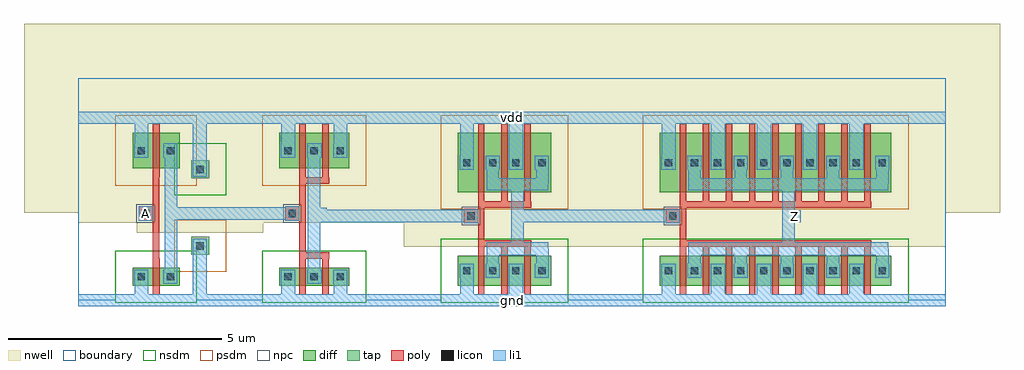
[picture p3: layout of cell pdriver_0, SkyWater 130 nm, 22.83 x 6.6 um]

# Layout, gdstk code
import gdstk
lib = gdstk.Library(unit=1e-6, precision=1e-09)
def R(c, l, rs):  # rectangles x0, y0, x1, y1
    for r in rs: c.add(gdstk.rectangle(r[:2], r[2:], *l))
def A(c, l, x, y, w, h, nx, ny, dx, dy):  # array of equal rectangles
    R(c, l, [(x+i*dx, y+j*dy, x+i*dx+w, y+j*dy+h) for i in range(nx) for j in range(ny)])
nwell = (64, 20)
diff = (65, 20)
tap = (65, 44)
poly = (66, 20)
licon = (66, 44)
li1 = (67, 20)
nsdm = (93, 44)
psdm = (94, 20)
npc = (95, 20)
boundary = (235, 4)

contact_10 = lib.new_cell('contact_10')
R(contact_10, nwell, [(-1.27,-1.27,1.69,1.69)])
R(contact_10, diff, [(0,0,0.42,0.42)])
R(contact_10, licon, [(0.12,0.12,0.29,0.29)])
R(contact_10, li1, [(0.04,0.04,0.37,0.37)])
R(contact_10, psdm, [(-0.4,-0.4,0.82,0.82)])
R(contact_10, boundary, [(-1.27,-1.27,1.69,1.69)])

pmos_m1_w0_840_sli_dli_d = lib.new_cell('pmos_m1_w0_840_sli_dli_da_p')
R(pmos_m1_w0_840_sli_dli_d, nwell, [(-1.27,-1.27,2.37,2.11)])
R(pmos_m1_w0_840_sli_dli_d, diff, [(0,0,1.1,0.84)])
R(pmos_m1_w0_840_sli_dli_d, poly, [(0.47,-0.21,0.62,1.05), (0.47,-0.21,0.63,1.05)])
R(pmos_m1_w0_840_sli_dli_d, li1, [(0.05,0.25,0.37,0.59), (0.73,0.25,1.05,0.59)])
R(pmos_m1_w0_840_sli_dli_d, psdm, [(-0.4,-0.4,1.5,1.24)])
R(pmos_m1_w0_840_sli_dli_d, boundary, [(-1.27,-1.27,2.37,2.11)])
pmos_m1_w0_840_sli_dli_d.add(gdstk.Reference(contact_10, (0,0.21)))
pmos_m1_w0_840_sli_dli_d.add(gdstk.Reference(contact_10, (0.68,0.21)))
pmos_m1_w0_840_sli_dli_d.add(gdstk.Label('G', (0.55,0.42), layer=66, texttype=20))
pmos_m1_w0_840_sli_dli_d.add(gdstk.Label('S', (0.21,0.42), layer=67, texttype=20))
pmos_m1_w0_840_sli_dli_d.add(gdstk.Label('D', (0.89,0.42), layer=67, texttype=20))

contact_9 = lib.new_cell('contact_9')
R(contact_9, diff, [(0,0,0.42,0.42)])
R(contact_9, licon, [(0.12,0.12,0.29,0.29)])
R(contact_9, li1, [(0.04,0.04,0.37,0.37)])
R(contact_9, nsdm, [(-0.4,-0.4,0.82,0.82)])
R(contact_9, boundary, [(-0.4,-0.4,0.82,0.82)])

nmos_m1_w0_420_sli_dli_d = lib.new_cell('nmos_m1_w0_420_sli_dli_da_p')
R(nmos_m1_w0_420_sli_dli_d, diff, [(0,0,1.1,0.42)])
R(nmos_m1_w0_420_sli_dli_d, poly, [(0.47,-0.21,0.62,0.63), (0.47,-0.21,0.63,0.63)])
R(nmos_m1_w0_420_sli_dli_d, li1, [(0.05,0.05,0.37,0.37), (0.73,0.05,1.05,0.37)])
R(nmos_m1_w0_420_sli_dli_d, nsdm, [(-0.4,-0.4,1.5,0.82)])
R(nmos_m1_w0_420_sli_dli_d, boundary, [(-0.4,-0.4,1.5,0.82)])
nmos_m1_w0_420_sli_dli_d.add(gdstk.Reference(contact_9, (0,0)))
nmos_m1_w0_420_sli_dli_d.add(gdstk.Reference(contact_9, (0.68,0)))
nmos_m1_w0_420_sli_dli_d.add(gdstk.Label('G', (0.55,0.21), layer=66, texttype=20))
nmos_m1_w0_420_sli_dli_d.add(gdstk.Label('S', (0.21,0.21), layer=67, texttype=20))
nmos_m1_w0_420_sli_dli_d.add(gdstk.Label('D', (0.89,0.21), layer=67, texttype=20))

contact_11 = lib.new_cell('contact_11')
R(contact_11, nwell, [(-1.27,-1.27,1.69,1.69)])
R(contact_11, tap, [(0,0,0.42,0.42)])
R(contact_11, licon, [(0.12,0.12,0.29,0.29)])
R(contact_11, li1, [(0.04,0.04,0.37,0.37)])
R(contact_11, nsdm, [(-0.4,-0.4,0.82,0.82)])
R(contact_11, boundary, [(-1.27,-1.27,1.69,1.69)])

contact_12 = lib.new_cell('contact_12')
R(contact_12, tap, [(0,0,0.42,0.42)])
R(contact_12, licon, [(0.12,0.12,0.29,0.29)])
R(contact_12, li1, [(0.04,0.04,0.37,0.37)])
R(contact_12, psdm, [(-0.4,-0.4,0.82,0.82)])
R(contact_12, boundary, [(-0.4,-0.4,0.82,0.82)])

contact_13 = lib.new_cell('contact_13')
R(contact_13, poly, [(0,0,0.33,0.33)])
R(contact_13, licon, [(0.08,0.08,0.25,0.25)])
R(contact_13, li1, [(0,0,0.33,0.33)])
R(contact_13, npc, [(-0.05,-0.05,0.38,0.38)])
R(contact_13, boundary, [(-0.05,-0.05,0.38,0.38)])

pinv_5 = lib.new_cell('pinv_5')
R(pinv_5, nwell, [(-1.27,2.04,4.7,6.46)])
R(pinv_5, poly, [(1.74,0.97,1.89,2.87), (1.58,1.86,1.74,2.19)])
R(pinv_5, li1, [(0,-0.14,3.43,0.14), (1.32,-0.14,1.64,0.39), (2.68,0,3.01,1.27), (2.02,0.39,2.31,3.67), (1.41,1.86,1.74,2.18), (2.16,1.88,2.45,2.16), (2.68,3.06,3.01,4.26), (1.32,3.33,1.64,4.4), (0,4.12,3.43,4.4)])
R(pinv_5, boundary, [(0,0,3.43,4.26), (0,0,3.43,4.26)])
pinv_5.add(gdstk.Reference(pmos_m1_w0_840_sli_dli_d, (1.27,3.08)))
pinv_5.add(gdstk.Reference(nmos_m1_w0_420_sli_dli_d, (1.27,0.34)))
pinv_5.add(gdstk.Reference(contact_11, (2.64,2.85)))
pinv_5.add(gdstk.Reference(contact_12, (2.64,1.06)))
pinv_5.add(gdstk.Reference(contact_13, (1.41,1.86)))
pinv_5.add(gdstk.Label('A', (1.575,2.02), layer=67, texttype=20))
pinv_5.add(gdstk.Label('Z', (2.305,2.02), layer=67, texttype=20))
pinv_5.add(gdstk.Label('gnd', (1.715,0), layer=67, texttype=20))
pinv_5.add(gdstk.Label('vdd', (1.715,4.26), layer=67, texttype=20))

pmos_m2_w0_840_sli_dli_d = lib.new_cell('pmos_m2_w0_840_sli_dli_da_p')
R(pmos_m2_w0_840_sli_dli_d, nwell, [(-1.27,-1.27,2.91,2.11)])
R(pmos_m2_w0_840_sli_dli_d, diff, [(0,0,1.64,0.84)])
R(pmos_m2_w0_840_sli_dli_d, poly, [(0.47,-0.36,1.17,-0.21), (0.47,-0.21,0.62,1.05), (1.01,-0.21,1.16,1.05)])
R(pmos_m2_w0_840_sli_dli_d, li1, [(0.05,0.25,0.37,0.59), (0.65,0.25,0.99,0.59), (1.27,0.25,1.59,0.59)])
R(pmos_m2_w0_840_sli_dli_d, psdm, [(-0.4,-0.4,2.04,1.24)])
R(pmos_m2_w0_840_sli_dli_d, boundary, [(-1.27,-1.27,2.91,2.11)])
pmos_m2_w0_840_sli_dli_d.add(gdstk.Reference(contact_10, (0,0.21)))
pmos_m2_w0_840_sli_dli_d.add(gdstk.Reference(contact_10, (0.61,0.21)))
pmos_m2_w0_840_sli_dli_d.add(gdstk.Reference(contact_10, (1.22,0.21)))
pmos_m2_w0_840_sli_dli_d.add(gdstk.Label('G', (0.82,-0.285), layer=66, texttype=20))
pmos_m2_w0_840_sli_dli_d.add(gdstk.Label('S', (0.21,0.42), layer=67, texttype=20))
pmos_m2_w0_840_sli_dli_d.add(gdstk.Label('S', (1.43,0.42), layer=67, texttype=20))
pmos_m2_w0_840_sli_dli_d.add(gdstk.Label('D', (0.82,0.42), layer=67, texttype=20))

nmos_m2_w0_420_sli_dli_d = lib.new_cell('nmos_m2_w0_420_sli_dli_da_p')
R(nmos_m2_w0_420_sli_dli_d, diff, [(0,0,1.64,0.42)])
R(nmos_m2_w0_420_sli_dli_d, poly, [(0.47,-0.21,0.62,0.63), (1.01,-0.21,1.16,0.63), (0.47,0.63,1.17,0.78)])
R(nmos_m2_w0_420_sli_dli_d, li1, [(0.05,0.05,0.37,0.37), (0.65,0.05,0.99,0.37), (1.27,0.05,1.59,0.37)])
R(nmos_m2_w0_420_sli_dli_d, nsdm, [(-0.4,-0.4,2.04,0.82)])
R(nmos_m2_w0_420_sli_dli_d, boundary, [(-0.4,-0.4,2.04,0.82)])
nmos_m2_w0_420_sli_dli_d.add(gdstk.Reference(contact_9, (0,0)))
nmos_m2_w0_420_sli_dli_d.add(gdstk.Reference(contact_9, (0.61,0)))
nmos_m2_w0_420_sli_dli_d.add(gdstk.Reference(contact_9, (1.22,0)))
nmos_m2_w0_420_sli_dli_d.add(gdstk.Label('G', (0.82,0.705), layer=66, texttype=20))
nmos_m2_w0_420_sli_dli_d.add(gdstk.Label('S', (1.43,0.21), layer=67, texttype=20))
nmos_m2_w0_420_sli_dli_d.add(gdstk.Label('S', (0.21,0.21), layer=67, texttype=20))
nmos_m2_w0_420_sli_dli_d.add(gdstk.Label('D', (0.82,0.21), layer=67, texttype=20))

pinv_4 = lib.new_cell('pinv_4')
R(pinv_4, nwell, [(-1.27,2.04,5.45,6.46)])
R(pinv_4, poly, [(1.74,1.12,1.89,2.72), (1.58,1.86,1.74,2.19)])
R(pinv_4, li1, [(0,-0.14,4.18,0.14), (1.32,-0.14,1.64,0.39), (2.54,-0.14,2.86,0.39), (1.94,0.39,2.23,3.67), (1.41,1.86,1.74,2.18), (2.09,1.88,2.38,2.16), (1.32,3.33,1.64,4.4), (2.54,3.33,2.86,4.4), (0,4.12,4.18,4.4)])
R(pinv_4, boundary, [(0,0,4.18,4.26), (0,0,4.18,4.26)])
pinv_4.add(gdstk.Reference(pmos_m2_w0_840_sli_dli_d, (1.27,3.08)))
pinv_4.add(gdstk.Reference(nmos_m2_w0_420_sli_dli_d, (1.27,0.34)))
pinv_4.add(gdstk.Reference(contact_13, (1.41,1.86)))
pinv_4.add(gdstk.Label('A', (1.575,2.02), layer=67, texttype=20))
pinv_4.add(gdstk.Label('Z', (2.235,2.02), layer=67, texttype=20))
pinv_4.add(gdstk.Label('gnd', (2.09,0), layer=67, texttype=20))
pinv_4.add(gdstk.Label('vdd', (2.09,4.26), layer=67, texttype=20))

pmos_m3_w1_400_sli_dli_d = lib.new_cell('pmos_m3_w1_400_sli_dli_da_p')
R(pmos_m3_w1_400_sli_dli_d, nwell, [(-1.27,-1.27,3.45,2.67)])
R(pmos_m3_w1_400_sli_dli_d, diff, [(0,0,2.18,1.4)])
A(pmos_m3_w1_400_sli_dli_d, poly, 0.47, -0.21, 0.15, 1.82, 3, 1, 0.54, 0)
R(pmos_m3_w1_400_sli_dli_d, poly, [(0.47,-0.36,1.71,-0.21)])
R(pmos_m3_w1_400_sli_dli_d, li1, [(0.67,0.05,2.11,0.33), (0.67,0.19,0.96,0.7), (1.83,0.19,2.12,0.7), (0.05,0.53,0.37,0.87), (1.19,0.53,1.53,0.87)])
R(pmos_m3_w1_400_sli_dli_d, psdm, [(-0.4,-0.4,2.58,1.8)])
R(pmos_m3_w1_400_sli_dli_d, boundary, [(-1.27,-1.27,3.45,2.67)])
pmos_m3_w1_400_sli_dli_d.add(gdstk.Reference(contact_10, (0,0.49)))
pmos_m3_w1_400_sli_dli_d.add(gdstk.Reference(contact_10, (0.61,0.49)))
pmos_m3_w1_400_sli_dli_d.add(gdstk.Reference(contact_10, (1.15,0.49)))
pmos_m3_w1_400_sli_dli_d.add(gdstk.Reference(contact_10, (1.76,0.49)))
pmos_m3_w1_400_sli_dli_d.add(gdstk.Label('G', (1.09,-0.285), layer=66, texttype=20))
pmos_m3_w1_400_sli_dli_d.add(gdstk.Label('S', (1.36,0.7), layer=67, texttype=20))
pmos_m3_w1_400_sli_dli_d.add(gdstk.Label('S', (0.21,0.7), layer=67, texttype=20))
pmos_m3_w1_400_sli_dli_d.add(gdstk.Label('D', (1.39,0.19), layer=67, texttype=20))

nmos_m3_w0_700_sli_dli_d = lib.new_cell('nmos_m3_w0_700_sli_dli_da_p')
R(nmos_m3_w0_700_sli_dli_d, diff, [(0,0,2.18,0.7)])
A(nmos_m3_w0_700_sli_dli_d, poly, 0.47, -0.21, 0.15, 1.12, 3, 1, 0.54, 0)
R(nmos_m3_w0_700_sli_dli_d, poly, [(0.47,0.91,1.71,1.06)])
R(nmos_m3_w0_700_sli_dli_d, li1, [(0.05,0.19,0.37,0.51), (1.19,0.19,1.53,0.51), (0.67,0.35,0.96,0.86), (1.83,0.35,2.12,0.86), (0.67,0.71,2.11,1.01)])
R(nmos_m3_w0_700_sli_dli_d, nsdm, [(-0.4,-0.4,2.58,1.1)])
R(nmos_m3_w0_700_sli_dli_d, boundary, [(-0.4,-0.4,2.58,1.1)])
nmos_m3_w0_700_sli_dli_d.add(gdstk.Reference(contact_9, (0,0.14)))
nmos_m3_w0_700_sli_dli_d.add(gdstk.Reference(contact_9, (0.61,0.14)))
nmos_m3_w0_700_sli_dli_d.add(gdstk.Reference(contact_9, (1.15,0.14)))
nmos_m3_w0_700_sli_dli_d.add(gdstk.Reference(contact_9, (1.76,0.14)))
nmos_m3_w0_700_sli_dli_d.add(gdstk.Label('G', (1.09,0.985), layer=66, texttype=20))
nmos_m3_w0_700_sli_dli_d.add(gdstk.Label('S', (0.21,0.35), layer=67, texttype=20))
nmos_m3_w0_700_sli_dli_d.add(gdstk.Label('S', (1.36,0.35), layer=67, texttype=20))
nmos_m3_w0_700_sli_dli_d.add(gdstk.Label('D', (1.39,0.86), layer=67, texttype=20))

pinv_6 = lib.new_cell('pinv_6')
R(pinv_6, nwell, [(-1.27,2.04,5.99,6.46)])
R(pinv_6, poly, [(1.74,1.4,1.89,2.16), (1.58,1.8,1.74,2.13)])
R(pinv_6, li1, [(0,-0.14,4.72,0.14), (1.32,-0.14,1.64,0.53), (2.46,-0.14,2.8,0.53), (2.52,1.05,2.81,2.85), (1.41,1.8,1.74,2.12), (2.66,1.82,2.95,2.1), (1.32,3.05,1.64,4.4), (2.46,3.05,2.8,4.4), (0,4.12,4.72,4.4)])
R(pinv_6, boundary, [(0,0,4.72,4.26), (0,0,4.72,4.26)])
pinv_6.add(gdstk.Reference(pmos_m3_w1_400_sli_dli_d, (1.27,2.52)))
pinv_6.add(gdstk.Reference(nmos_m3_w0_700_sli_dli_d, (1.27,0.34)))
pinv_6.add(gdstk.Reference(contact_13, (1.41,1.8)))
pinv_6.add(gdstk.Label('A', (1.575,1.96), layer=67, texttype=20))
pinv_6.add(gdstk.Label('Z', (2.805,1.96), layer=67, texttype=20))
pinv_6.add(gdstk.Label('gnd', (2.36,0), layer=67, texttype=20))
pinv_6.add(gdstk.Label('vdd', (2.36,4.26), layer=67, texttype=20))

pmos_m9_w1_400_sli_dli_d = lib.new_cell('pmos_m9_w1_400_sli_dli_da_p')
R(pmos_m9_w1_400_sli_dli_d, nwell, [(-1.27,-1.27,6.69,2.67)])
R(pmos_m9_w1_400_sli_dli_d, diff, [(0,0,5.42,1.4)])
A(pmos_m9_w1_400_sli_dli_d, poly, 0.47, -0.21, 0.15, 1.82, 9, 1, 0.54, 0)
R(pmos_m9_w1_400_sli_dli_d, poly, [(0.47,-0.36,4.95,-0.21)])
A(pmos_m9_w1_400_sli_dli_d, li1, 0.67, 0.19, 0.29, 0.51, 4, 1, 1.08, 0)
A(pmos_m9_w1_400_sli_dli_d, li1, 1.19, 0.53, 0.34, 0.34, 4, 1, 1.08, 0)
R(pmos_m9_w1_400_sli_dli_d, li1, [(0.67,0.05,5.35,0.33), (5.07,0.19,5.36,0.7), (0.05,0.53,0.37,0.87)])
R(pmos_m9_w1_400_sli_dli_d, psdm, [(-0.4,-0.4,5.82,1.8)])
R(pmos_m9_w1_400_sli_dli_d, boundary, [(-1.27,-1.27,6.69,2.67)])
pmos_m9_w1_400_sli_dli_d.add(gdstk.Reference(contact_10, (0,0.49)))
pmos_m9_w1_400_sli_dli_d.add(gdstk.Reference(contact_10, (0.61,0.49)))
pmos_m9_w1_400_sli_dli_d.add(gdstk.Reference(contact_10, (1.15,0.49)))
pmos_m9_w1_400_sli_dli_d.add(gdstk.Reference(contact_10, (1.69,0.49)))
pmos_m9_w1_400_sli_dli_d.add(gdstk.Reference(contact_10, (2.23,0.49)))
pmos_m9_w1_400_sli_dli_d.add(gdstk.Reference(contact_10, (2.77,0.49)))
pmos_m9_w1_400_sli_dli_d.add(gdstk.Reference(contact_10, (3.31,0.49)))
pmos_m9_w1_400_sli_dli_d.add(gdstk.Reference(contact_10, (3.85,0.49)))
pmos_m9_w1_400_sli_dli_d.add(gdstk.Reference(contact_10, (4.39,0.49)))
pmos_m9_w1_400_sli_dli_d.add(gdstk.Reference(contact_10, (5,0.49)))
pmos_m9_w1_400_sli_dli_d.add(gdstk.Label('G', (2.71,-0.285), layer=66, texttype=20))
pmos_m9_w1_400_sli_dli_d.add(gdstk.Label('S', (0.21,0.7), layer=67, texttype=20))
pmos_m9_w1_400_sli_dli_d.add(gdstk.Label('S', (3.52,0.7), layer=67, texttype=20))
pmos_m9_w1_400_sli_dli_d.add(gdstk.Label('S', (2.44,0.7), layer=67, texttype=20))
pmos_m9_w1_400_sli_dli_d.add(gdstk.Label('S', (4.6,0.7), layer=67, texttype=20))
pmos_m9_w1_400_sli_dli_d.add(gdstk.Label('S', (1.36,0.7), layer=67, texttype=20))
pmos_m9_w1_400_sli_dli_d.add(gdstk.Label('D', (3.01,0.19), layer=67, texttype=20))

nmos_m9_w0_700_sli_dli_d = lib.new_cell('nmos_m9_w0_700_sli_dli_da_p')
R(nmos_m9_w0_700_sli_dli_d, diff, [(0,0,5.42,0.7)])
A(nmos_m9_w0_700_sli_dli_d, poly, 0.47, -0.21, 0.15, 1.12, 9, 1, 0.54, 0)
R(nmos_m9_w0_700_sli_dli_d, poly, [(0.47,0.91,4.95,1.06)])
A(nmos_m9_w0_700_sli_dli_d, li1, 1.19, 0.19, 0.34, 0.32, 4, 1, 1.08, 0)
A(nmos_m9_w0_700_sli_dli_d, li1, 0.67, 0.35, 0.29, 0.51, 4, 1, 1.08, 0)
R(nmos_m9_w0_700_sli_dli_d, li1, [(0.05,0.19,0.37,0.51), (5.07,0.35,5.36,0.86), (0.67,0.71,5.35,1.01)])
R(nmos_m9_w0_700_sli_dli_d, nsdm, [(-0.4,-0.4,5.82,1.1)])
R(nmos_m9_w0_700_sli_dli_d, boundary, [(-0.4,-0.4,5.82,1.1)])
nmos_m9_w0_700_sli_dli_d.add(gdstk.Reference(contact_9, (0,0.14)))
nmos_m9_w0_700_sli_dli_d.add(gdstk.Reference(contact_9, (0.61,0.14)))
nmos_m9_w0_700_sli_dli_d.add(gdstk.Reference(contact_9, (1.15,0.14)))
nmos_m9_w0_700_sli_dli_d.add(gdstk.Reference(contact_9, (1.69,0.14)))
nmos_m9_w0_700_sli_dli_d.add(gdstk.Reference(contact_9, (2.23,0.14)))
nmos_m9_w0_700_sli_dli_d.add(gdstk.Reference(contact_9, (2.77,0.14)))
nmos_m9_w0_700_sli_dli_d.add(gdstk.Reference(contact_9, (3.31,0.14)))
nmos_m9_w0_700_sli_dli_d.add(gdstk.Reference(contact_9, (3.85,0.14)))
nmos_m9_w0_700_sli_dli_d.add(gdstk.Reference(contact_9, (4.39,0.14)))
nmos_m9_w0_700_sli_dli_d.add(gdstk.Reference(contact_9, (5,0.14)))
nmos_m9_w0_700_sli_dli_d.add(gdstk.Label('G', (2.71,0.985), layer=66, texttype=20))
nmos_m9_w0_700_sli_dli_d.add(gdstk.Label('S', (3.52,0.35), layer=67, texttype=20))
nmos_m9_w0_700_sli_dli_d.add(gdstk.Label('S', (2.44,0.35), layer=67, texttype=20))
nmos_m9_w0_700_sli_dli_d.add(gdstk.Label('S', (1.36,0.35), layer=67, texttype=20))
nmos_m9_w0_700_sli_dli_d.add(gdstk.Label('S', (4.6,0.35), layer=67, texttype=20))
nmos_m9_w0_700_sli_dli_d.add(gdstk.Label('S', (0.21,0.35), layer=67, texttype=20))
nmos_m9_w0_700_sli_dli_d.add(gdstk.Label('D', (3.01,0.86), layer=67, texttype=20))

pinv_7 = lib.new_cell('pinv_7')
R(pinv_7, nwell, [(-1.27,2.04,9.23,6.46)])
R(pinv_7, poly, [(1.74,1.4,1.89,2.16), (1.58,1.8,1.74,2.13)])
A(pinv_7, li1, 2.46, -0.14, 0.34, 0.67, 4, 1, 1.08, 0)
A(pinv_7, li1, 2.46, 3.05, 0.34, 1.35, 4, 1, 1.08, 0)
R(pinv_7, li1, [(0,-0.14,7.96,0.14), (1.32,-0.14,1.64,0.53), (4.14,1.05,4.43,2.85), (1.41,1.8,1.74,2.12), (4.28,1.82,4.57,2.1), (1.32,3.05,1.64,4.4), (0,4.12,7.96,4.4)])
R(pinv_7, boundary, [(0,0,7.96,4.26), (0,0,7.96,4.26)])
pinv_7.add(gdstk.Reference(pmos_m9_w1_400_sli_dli_d, (1.27,2.52)))
pinv_7.add(gdstk.Reference(nmos_m9_w0_700_sli_dli_d, (1.27,0.34)))
pinv_7.add(gdstk.Reference(contact_13, (1.41,1.8)))
pinv_7.add(gdstk.Label('A', (1.575,1.96), layer=67, texttype=20))
pinv_7.add(gdstk.Label('Z', (4.425,1.96), layer=67, texttype=20))
pinv_7.add(gdstk.Label('gnd', (3.98,0), layer=67, texttype=20))
pinv_7.add(gdstk.Label('vdd', (3.98,4.26), layer=67, texttype=20))

pdriver_0 = lib.new_cell('pdriver_0')
R(pdriver_0, nwell, [(-1.27,2.04,21.56,6.46)])
R(pdriver_0, li1, [(0,-0.14,20.29,0.14), (5.52,1.82,5.81,2.11), (5.66,1.82,9.18,2.11), (10.42,1.82,13.9,2.11), (16.61,1.82,16.9,2.1), (1.41,1.86,1.74,2.18), (2.3,1.88,5,2.17), (5.52,1.96,5.81,2.02), (0,4.12,20.29,4.4)])
R(pdriver_0, boundary, [(0,0,20.29,4.26), (0,0,20.29,4.26)])
pdriver_0.add(gdstk.Reference(pinv_5, (0,0)))
pdriver_0.add(gdstk.Reference(pinv_4, (3.43,0)))
pdriver_0.add(gdstk.Reference(pinv_6, (7.61,0)))
pdriver_0.add(gdstk.Reference(pinv_7, (12.33,0)))
pdriver_0.add(gdstk.Label('Z', (16.755,1.96), layer=67, texttype=20))
pdriver_0.add(gdstk.Label('A', (1.575,2.02), layer=67, texttype=20))
pdriver_0.add(gdstk.Label('gnd', (10.145,0), layer=67, texttype=20))
pdriver_0.add(gdstk.Label('vdd', (10.145,4.26), layer=67, texttype=20))

lib.write_gds('pdriver_0.gds')
